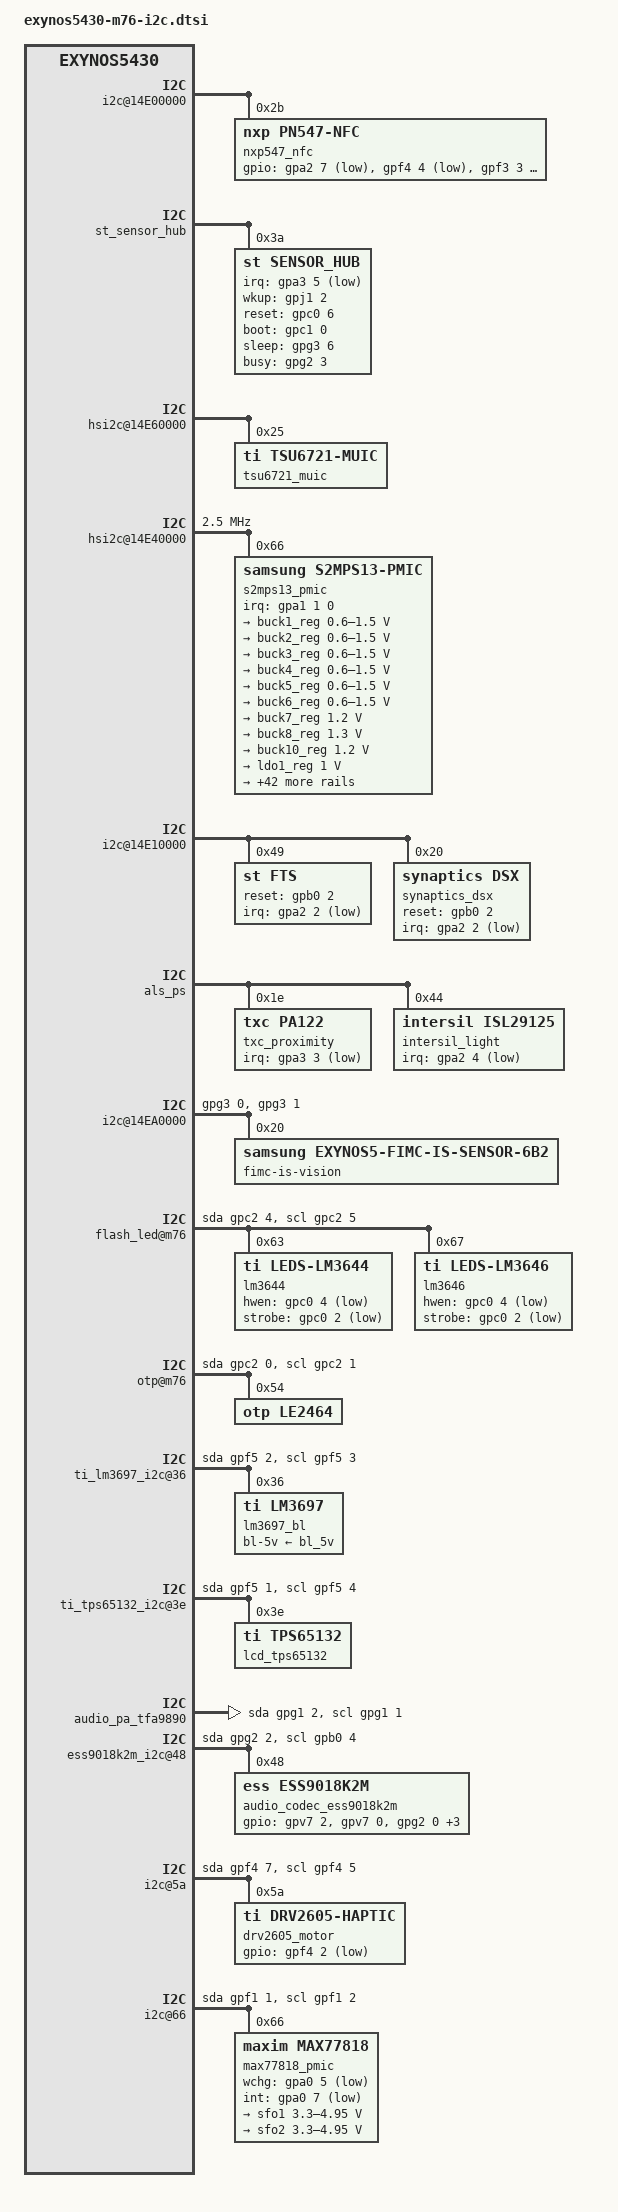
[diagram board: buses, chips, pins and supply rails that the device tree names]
/*
 * MEIZU M76 board I2C device tree source
 *
 * Copyright (c) 2014 Meizu Technology Co., Ltd.
 *		http://www.meizu.com
 *
 * This program is free software; you can redistribute it and/or modify
 * it under the terms of the GNU General Public License version 2 as
 * published by the Free Software Foundation.
*/

/ {
	aliases {
		i2c68 = &audio_pa_tfa9890;
		i2c67 = &als_ps;
		i2c66 = &st_sensor_hub;
	};

	i2c@14E00000 {
		status = "okay";
		#size-cells = <0>;
		samsung,i2c-sda-delay = <100>;
		samsung,i2c-max-bus-freq = <200000>;
		nxp547_nfc@2B {
			compatible = "nxp,pn547-nfc";
			reg = <0x2B>;
			gpios = <&gpa2 7 0xf  /* nfc-irq */
				 &gpf4 4 0x1  /* nfc-dl-req */
				 &gpf3 3 0x1  /* nfc-reset */
				>;

			pinctrl-names = "default";
			pinctrl-0 = <&nfc_dl_req &nfc_reset &nfc_spi_reset>;
		};
	};

	st_sensor_hub:i2c@14E30000 {
		status = "okay";
		samsung,i2c-sda-delay = <100>;
		samsung,i2c-max-bus-freq = <400000>;
		#size-cells = <0>;

		sensor_hub@3a {
			compatible = "st,sensor_hub";
			reg = <0x3A>;
			/*pinctrl-names = "sensor-hub-irq";*/
			/*pinctrl-0 = <&st_hub_irq &st_hub_reset>;*/
			/*pinctrl-0 = <&st_hub_reset>;*/
			mx-hub,pwr28-reg-name = "vdd28_sen";
			mx-hub,pwr18-reg-name = "vdd18_mcu";
			mx-hub,irq-gpio = <&gpa3 5 0x0F>;
			mx-hub,irq-flags = <0x2>;
			mx-hub,wkup-gpio = <&gpj1 2 0>;
			mx-hub,reset-gpio = <&gpc0 6 0>;
			mx-hub,boot-gpio = <&gpc1 0 0>;
			mx-hub,sleep-gpio = <&gpg3 6 0>;
			mx-hub,busy-gpio = <&gpg2 3 0>;
		};
	};

	hsi2c@14E60000 {/*muic tsu6721 is the slave of hsi2c2*/
		status = "okay";
		samsung,i2c-sda-delay = <100>;
		samsung,i2c-max-bus-freq = <200000>;

		tsu6721_muic@25{
			compatible = "ti,tsu6721-muic";
			reg = <0x25>;
			int-muic = <&gpa0 0 0xf>;
			iset-muic = <&gpa0 3 0xf>;
			pinctrl-names = "default";
			pinctrl-0 = <&muic_int>;
		};
	};

	hsi2c@14E40000 {
		status = "okay";
		samsung,hs-mode;
		clock-frequency = <2500000>;
		s2mps13_pmic@66 {
			compatible = "samsung,s2mps13-pmic";
			reg = <0x66>;
			interrupts = <1 0 0>; /*GPA1-1*/
			interrupt-parent = <&gpa1>;
			pinctrl-names = "default";
			pinctrl-0 = <&pmic_irq &pm_wrsti>;
			/* RTC: wtsr/smpl */
			wtsr_en = <1>; /* enable */
			smpl_en = <1>; /* enable */
			wtsr_timer_val = <3>;   /* 1000ms */
			smpl_timer_val = <4>;   /* 500ms */
			check_jigon = <0>; /* do not check jigon */
			/* RTC: If it's first boot, reset rtc to 1/1/2014 12:00:00(Wed) */
			init_time,sec = <0>;
			init_time,min = <0>;
			init_time,hour = <12>;
			init_time,mday = <1>;
			init_time,mon = <0>;
			init_time,year = <114>;
			init_time,wday = <3>;

			regulators {
				buck1_reg: BUCK1 {
					regulator-name = "vdd_mif";
					regulator-min-microvolt = <600000>;
					regulator-max-microvolt = <1500000>;
					regulator-always-on;
					regulator-boot-on;
					regulator-ramp-delay = <12000>;
					regulator-initial-mode = <1>;
				};

				buck2_reg: BUCK2 {
					regulator-name = "vdd_eagle";
					regulator-min-microvolt = <600000>;
					regulator-max-microvolt = <1500000>;
					regulator-always-on;
					regulator-boot-on;
					regulator-ramp-delay = <12000>;
					regulator-initial-mode = <1>;
				};

				buck3_reg: BUCK3 {
					regulator-name = "vdd_kfc";
					regulator-min-microvolt = <600000>;
					regulator-max-microvolt = <1500000>;
					regulator-always-on;
					regulator-boot-on;
					regulator-ramp-delay = <12000>;
					regulator-initial-mode = <1>;
				};

				buck4_reg: BUCK4 {
					regulator-name = "vdd_int";
					regulator-min-microvolt = <600000>;
					regulator-max-microvolt = <1500000>;
					regulator-always-on;
					regulator-boot-on;
					regulator-ramp-delay = <12000>;
					regulator-initial-mode = <1>;
				};

				buck5_reg: BUCK5 {
					regulator-name = "vdd_disp_cam0";
					regulator-min-microvolt = <600000>;
					regulator-max-microvolt = <1500000>;
					regulator-always-on;
					regulator-boot-on;
					regulator-ramp-delay = <12000>;
					regulator-initial-mode = <1>;
				};

				buck6_reg: BUCK6 {
					regulator-name = "vdd_g3d";
					regulator-min-microvolt = <600000>;
					regulator-max-microvolt = <1500000>;
					regulator-always-on;
					regulator-boot-on;
					regulator-ramp-delay = <12000>;
					regulator-initial-mode = <1>;
				};

				buck7_reg: BUCK7 {
					regulator-name = "vdd12_mem";
					regulator-min-microvolt = <1200000>;
					regulator-max-microvolt = <1200000>;
					regulator-always-on;
					regulator-boot-on;
					regulator-ramp-delay = <12000>;
					regulator-initial-mode = <3>;
				};
				/*
				buck7_sw_reg: BUCK7_SW {
					regulator-name = "vdd12_hsic";
					regulator-min-microvolt = <1200000>;
					regulator-max-microvolt = <1200000>;
					regulator-always-on;
					regulator-boot-on;
					regulator-initial-mode = <1>;
				};
				*/

				buck8_reg: BUCK8 {
					regulator-name = "DVDD13";
					regulator-min-microvolt = <1300000>;
					regulator-max-microvolt = <1300000>;
					regulator-always-on;
					regulator-boot-on;
					regulator-ramp-delay = <12000>;
					regulator-initial-mode = <3>;
				};
				/*
				BUCK9 DVDD20, 2.0V
				*/
				buck10_reg: BUCK10 {
					regulator-name = "vdd_mem2_nouse";
					regulator-min-microvolt = <1200000>;
					regulator-max-microvolt = <1200000>;
					regulator-initial-mode = <0>;
				};
				/*
				BB11 DVDD34, 3.4V
				*/

				ldo1_reg: LDO1 {
					regulator-name = "vdd10_alive";
					regulator-min-microvolt = <1000000>;
					regulator-max-microvolt = <1000000>;
					regulator-boot-on;
					regulator-always-on;
					regulator-ramp-delay = <12000>;
					regulator-initial-mode = <3>;
				};

				ldo2_reg: LDO2 {
					regulator-name = "vqmmc";
					regulator-min-microvolt = <2800000>;
					regulator-max-microvolt = <2800000>;
					regulator-boot-on;
					regulator-ramp-delay = <12000>;
					regulator-initial-mode = <1>;
				};

				ldo3_reg: LDO3 {
					regulator-name = "vdd18_apio";
					regulator-min-microvolt = <1800000>;
					regulator-max-microvolt = <1800000>;
					regulator-boot-on;
					regulator-always-on;
					regulator-initial-mode = <3>;
				};

				ldo4_reg: LDO4 {
					regulator-name = "vdd10_lli";
					regulator-min-microvolt = <1000000>;
					regulator-max-microvolt = <1000000>;
					regulator-boot-on;
					regulator-always-on;
					regulator-initial-mode = <1>;
				};

				ldo5_reg: LDO5 {
					regulator-name = "vdd10_dpll";
					regulator-min-microvolt = <1000000>;
					regulator-max-microvolt = <1000000>;
					regulator-always-on;
					regulator-initial-mode = <1>;
				};

				ldo6_reg: LDO6 {
					regulator-name = "vdd10_hsif";
					regulator-min-microvolt = <1000000>;
					regulator-max-microvolt = <1000000>;
					regulator-always-on;
					regulator-initial-mode = <1>;
				};

				ldo7_reg: LDO7 {
					regulator-name = "vdd18_hsif";
					regulator-min-microvolt = <1800000>;
					regulator-max-microvolt = <1800000>;
					regulator-always-on;
					regulator-initial-mode = <1>;
				};

				ldo8_reg: LDO8 {
					regulator-name = "vdd18_lli_pll";
					regulator-min-microvolt = <1800000>;
					regulator-max-microvolt = <1800000>;
					regulator-always-on;
					regulator-initial-mode = <1>;
				};

				ldo9_reg: LDO9 {
					regulator-name = "vdd18_abb_pll";
					regulator-min-microvolt = <1800000>;
					regulator-max-microvolt = <1800000>;
					regulator-always-on;
					regulator-initial-mode = <1>;
				};

				ldo10_reg: LDO10 {
					regulator-name = "vdd30_usb";
					regulator-min-microvolt = <3000000>;
					regulator-max-microvolt = <3000000>;
					regulator-always-on;
					regulator-initial-mode = <1>;
				};

				ldo11_reg: LDO11 {
					regulator-name = "vdd_int_m";
					regulator-min-microvolt = <800000>;
					regulator-max-microvolt = <1350000>;
					regulator-always-on;
					regulator-ramp-delay = <12000>;
					regulator-initial-mode = <1>;
				};

				ldo12_reg: LDO12 {
					regulator-name = "vdd_kfcm";
					regulator-min-microvolt = <1100000>;
					regulator-max-microvolt = <1100000>;
					regulator-always-on;
					regulator-initial-mode = <1>;
				};

				ldo13_reg: LDO13 {
					regulator-name = "vdd_g3dm";
					regulator-min-microvolt = <950000>;
					regulator-max-microvolt = <950000>;
					regulator-always-on;
					regulator-initial-mode = <1>;
				};

				ldo14_reg: LDO14 {
					regulator-name = "vddq_dram0";
					regulator-min-microvolt = <1200000>;
					regulator-max-microvolt = <1200000>;
					regulator-always-on;
					regulator-initial-mode = <1>;
				};

				ldo15_reg: LDO15 {
					regulator-name = "vddq_dram1";
					regulator-min-microvolt = <1200000>;
					regulator-max-microvolt = <1200000>;
					regulator-always-on;
					regulator-initial-mode = <1>;
				};

				ldo16_reg: LDO16 {
					regulator-name = "ldo16_no_use";
					regulator-min-microvolt = <2800000>;
					regulator-max-microvolt = <2800000>;
					regulator-ramp-delay = <12000>;
					regulator-initial-mode = <0>;
				};

				ldo17_reg: LDO17 {/*devboard v1/2/ touch*/
					regulator-name = "vdd28_no_use";
					regulator-min-microvolt = <2800000>;
					regulator-max-microvolt = <2800000>;
					regulator-initial-mode = <0>;
				};

				ldo18_reg: LDO18 {
					regulator-name = "vdd18_inandif";
					regulator-min-microvolt = <1800000>;
					regulator-max-microvolt = <1800000>;
					regulator-initial-mode = <0>;
				};

				ldo19_reg: LDO19 {
					regulator-name = "DVDD18";
					regulator-min-microvolt = <1800000>;
					regulator-max-microvolt = <1800000>;
					regulator-always-on;
					regulator-initial-mode = <3>;
				};

				ldo20_reg: LDO20 {
					regulator-name = "vdd28_sen";
					regulator-min-microvolt = <2800000>;
					regulator-max-microvolt = <2800000>;
					regulator-initial-mode = <3>;
				};

				ldo21_reg: LDO21 {
					regulator-name = "vdd18_fcam";
					regulator-min-microvolt = <1800000>;
					regulator-max-microvolt = <1800000>;
					regulator-initial-mode = <1>;
				};

				ldo22_reg: LDO22 {
					regulator-name = "vdd18_bcam";
					regulator-min-microvolt = <1800000>;
					regulator-max-microvolt = <1800000>;
					regulator-initial-mode = <1>;
				};

				ldo23_reg: LDO23 {
					regulator-name = "vdd12_fcam";
					regulator-min-microvolt = <1200000>;
					regulator-max-microvolt = <1200000>;
					regulator-initial-mode = <1>;
				};

				ldo24_reg: LDO24 {
					regulator-name = "vdd11_nr";
					regulator-min-microvolt = <1100000>;
					regulator-max-microvolt = <1100000>;
					regulator-ramp-delay = <12000>;
					regulator-initial-mode = <3>;
				};

				ldo25_reg: LDO25 {
					regulator-name = "vcc28_af";
					regulator-min-microvolt = <2800000>;
					regulator-max-microvolt = <2800000>;
					regulator-initial-mode = <1>;
				};

				ldo26_reg: LDO26 {
					regulator-name = "vcc28_bcam";
					regulator-min-microvolt = <2800000>;
					regulator-max-microvolt = <2800000>;
					regulator-initial-mode = <1>;
				};

				ldo27_reg: LDO27 {
					regulator-name = "vdd_ldo27_nouse";
					regulator-min-microvolt = <3000000>;
					regulator-max-microvolt = <3000000>;
					regulator-initial-mode = <0>;
				};

				ldo28_reg: LDO28 {
					regulator-name = "vdd18_dac";
					regulator-min-microvolt = <1800000>;
					regulator-max-microvolt = <1800000>;
					regulator-initial-mode = <1>;
				};

				ldo29_reg: LDO29 {
					regulator-name = "vdd_ldo29_nouse";
					regulator-min-microvolt = <3000000>;
					regulator-max-microvolt = <3000000>;
					regulator-initial-mode = <0>;
				};

				ldo30_reg: LDO30 {/*mobile touch*/
					regulator-name = "vdd28_touch";
					regulator-min-microvolt = <2800000>;
					regulator-max-microvolt = <2800000>;
					regulator-always-on;
					regulator-ramp-delay = <12000>;
					regulator-initial-mode = <3>;
				};

				ldo31_reg: LDO31 {
					regulator-name = "vdd18_mcu";
					regulator-min-microvolt = <1800000>;
					regulator-max-microvolt = <1800000>;
					regulator-always-on;
					regulator-initial-mode = <3>;
				};

				ldo32_reg: LDO32 {
					regulator-name = "vdd18_touch";
					regulator-min-microvolt = <1800000>;
					regulator-max-microvolt = <1800000>;
					regulator-always-on;
					regulator-initial-mode = <3>;
				};

				ldo33_reg: LDO33 {
					regulator-name = "vdd28_fp";
					regulator-min-microvolt = <2800000>;
					regulator-max-microvolt = <2800000>;
					regulator-initial-mode = <3>;
				};

				ldo34_reg: LDO34 {
					regulator-name = "codec_avdd18";
					regulator-min-microvolt = <1800000>;
					regulator-max-microvolt = <1800000>;
					regulator-always-on;
					regulator-initial-mode = <3>;
				};

				ldo35_reg: LDO35 {
					regulator-name = "vdd_ldo35_nouse";
					regulator-min-microvolt = <3000000>;
					regulator-max-microvolt = <3000000>;
					regulator-initial-mode = <0>;
				};

				ldo36_reg: LDO36 {/*samsung 1.2v?*/
					regulator-name = "vdd10_bcam";
					regulator-min-microvolt = <1000000>;
					regulator-max-microvolt = <1000000>;
					regulator-ramp-delay = <12000>;
					regulator-initial-mode = <1>;
				};

				ldo37_reg: LDO37 {
					regulator-name = "dvdd18_audio";
					regulator-min-microvolt = <1800000>;
					regulator-max-microvolt = <1800000>;
					regulator-always-on;
					regulator-initial-mode = <3>;
				};

				ldo38_reg: LDO38 {
					regulator-name = "vdd_ldo38_nouse";
					regulator-min-microvolt = <3000000>;
					regulator-max-microvolt = <3000000>;
					regulator-initial-mode = <0>;
				};

				ldo39_reg: LDO39 {
					regulator-name = "vdd18_lcd";
					regulator-min-microvolt = <1800000>;
					regulator-max-microvolt = <1800000>;
					regulator-initial-mode = <1>;
				};

				ldo40_reg: LDO40 {
					regulator-name = "vcc28_fcam";
					regulator-min-microvolt = <2800000>;
					regulator-max-microvolt = <2800000>;
					regulator-initial-mode = <1>;
				};

				bt32khz_reg: EN32KHzBT {
					regulator-name = "bt_32khz";
					regulator-always-on;
				};

				cp32khz_reg: EN32KHzCP {
					regulator-name = "cp_32khz";
					regulator-always-on;
				};

				ap32khz_reg: EN32KHzAP {
					regulator-name = "ap_32khz";
					regulator-always-on;
				};
			};
		};
	};

	i2c@14E10000 {
		status = "okay";
		samsung,i2c-sda-delay = <100>;
		samsung,i2c-max-bus-freq = <400000>;
		#size-cells = <0>;
		status = "okay";
		fts@49 {
			compatible = "st,fts";
			reg = <0x49>;
			/*    gpios = <&gpa2 2 0xF*/
			/*             &gpb0 2 0>;*/
			pinctrl-names = "touch_irq";
			pinctrl-0 = <&tp_irq>;
			synaptics,reset-gpio =<&gpb0 2 0>;
			synaptics,pwr-reg-name = "vdd28_touch";
			synaptics,bus-reg-name = "vdd18_touch";
			synaptics,irq-gpio = <&gpa2 2 0x0F>;
		};
		
		synaptics_dsx@20 {
                        compatible = "synaptics,dsx";
                        reg = <0x20>;
                        /*    gpios = <&gpa2 2 0xF*/
                        /*             &gpb0 2 0>;*/
                        pinctrl-names = "touch_irq";
                        pinctrl-0 = <&tp_irq>;
                        synaptics,reset-gpio =<&gpb0 2 0>; 
                        synaptics,pwr-reg-name = "vdd28_touch";
                        synaptics,bus-reg-name = "vdd18_touch";
                        synaptics,irq-gpio = <&gpa2 2 0x0F>;
                        synaptics,irq-flags = <0x2>;
                        synaptics,power-delay-ms = <60>;
                        synaptics,reset-delay-ms = <10>;
                        synaptics,cap-button-map = <102 129 158>;
                }; 
	};

	als_ps:i2c@14E80000 {
		status = "okay";
		samsung,i2c-sda-delay = <100>;
		samsung,i2c-max-bus-freq = <200000>;
		#size-cells = <0>;

		txc_proximity@1e {
			compatible = "txc,pa122";
			reg = <0x1e>;
			txc,irq-gpio = <&gpa3 3 0x0F>;
			pinctrl-names = "txc_ps";
			pinctrl-0 = <&ps_irq>;
			txc,power_reg = "vdd28_sen";
		};

		intersil_light@44 {
			compatible = "intersil,isl29125";
			reg = <0x44>;
			isl,irq-gpio = <&gpa2 4 0x0F>;
			pinctrl-names = "intersil_light";
			pinctrl-0 = <&light_irq>;
			isl,power_reg = "vdd28_sen";
		};
	};

	i2c@14EA0000 {
		gpios = <&gpg3 0 0 &gpg3 1 0 >;
		status = "okay";
		samsung,i2c-sda-delay = <100>;
		samsung,i2c-max-bus-freq = <400000>;
		status = "okay";
		fimc-is-vision@20 {
			compatible = "samsung,exynos5-fimc-is-sensor-6b2";
			reg = <0x20>;
		};
	};

#if 0
	i2c@14120000 {
		status = "okay";
		samsung,i2c-sda-delay = <100>;
		samsung,i2c-max-bus-freq = <400000>;
		lm3646@67 {
			compatible = "ti,leds-lm3646";
			hwen-gpio = <&gpc0 4 0x01>;
			strobe-gpio = <&gpc0 2 0x01>;
			reg = <0x67>;
		};
	};

	i2c@14120000 {
		status = "okay";
		samsung,i2c-sda-delay = <100>;
		samsung,i2c-max-bus-freq = <400000>;
		lm3644@63 {
			compatible = "ti,leds-lm3644";
			hwen-gpio = <&gpc0 4 0x01>;
			strobe-gpio = <&gpc0 2 0x01>;
			pinctrl-names = "torch-temp";
			pinctrl-0 = <&torch_temp>;
			reg = <0x63>;
		};
	};
#else
	flash_led@m76 {
		compatible = "i2c-gpio";
		gpios = <&gpc2 4 0 /* sda */
				&gpc2 5 0 /* scl */
				>;
		i2c-gpio,delay-us = <2>; /* 250KHz */
		#address-cells = <1>;
		#size-cells = <0>;
		status = "okay";

		lm3644@63 {
			compatible = "ti,leds-lm3644";
			hwen-gpio = <&gpc0 4 0x01>;
			strobe-gpio = <&gpc0 2 0x01>;
			pinctrl-names = "torch-temp";
			pinctrl-0 = <&torch_temp>;
			reg = <0x63>;
		};

		lm3646@67 {
			compatible = "ti,leds-lm3646";
			hwen-gpio = <&gpc0 4 0x01>;
			strobe-gpio = <&gpc0 2 0x01>;
			reg = <0x67>;
		};
	};
#endif

	otp@m76 {
		compatible = "i2c-gpio";
		gpios = <&gpc2 0 0 /* sda */
				&gpc2 1 0 /* scl */
				>;
		i2c-gpio,delay-us = <2>; /* 250KHz */
		#address-cells = <1>;
		#size-cells = <0>;
		status = "okay";

		le2464@54 {
			compatible = "otp,le2464";
			reg = <0x54>;
		};
	};

	ti_lm3697_i2c@36 {
		compatible = "i2c-gpio";
		gpios = <&gpf5 2 0 /* sda */
			 &gpf5 3 0 /* scl */
			>;
		i2c-gpio,delay-us = <2>;
		#address-cells = <1>;
		#size-cells = <0>;
		status = "okay";

		lm3697_bl@36 {
			compatible = "ti,lm3697";
			reg = <0x36>;
			bl-5v-supply = <&bl_5v>;

			enable-bank-a;

			/* LED TYPE:
			 *    BANK A: 0
			 *    BANK B: 1
			 */
			led1-type = <0>;
			led2-type = <0>;
			led3-type = <1>;

			enable-led1;
			enable-led2;

			/* BOOST FREQ:
			 *    500KHZ: 0
			 *    1MHZ: 1
			 */
			boost-freq = <0>;

			/* OVP:
			 *    16V: 0
			 *    24V: 1
			 *    32V: 2
			 *    40V: 3
			 */
			ovp = <2>;

			/* PWM CTRL:
			 *    DISABLE: 0
			 *    CTRL BANK A: 1
			 *    CTRL BANK B: 2
			 *    CTRL BANK A&B: 3
			 */
			pwm-ctrl = <0>;

			max-brightness = <2047>;
			def-brightness = <1200>;
		};
	};

	ti_tps65132_i2c@3e {
		compatible = "i2c-gpio";
		gpios = <&gpf5 1 0 /* sda */
			 &gpf5 4 0 /* scl */
			>;
		i2c-gpio,delay-us = <2>;
		#address-cells = <1>;
		#size-cells = <0>;
		status = "okay";

		lcd_tps65132@3e {
			compatible = "ti,tps65132";
			reg = <0x3e>;

			vpos = <0xF>;
			vneg = <0xF>;
			enable-vpos;
			enable-vneg;
		};
	};

	audio_pa_tfa9890: tfa9890_i2c@34 {
		compatible = "i2c-gpio";
		gpios = <&gpg1 2 0 /* sda */
			&gpg1 1 0 /* scl */>;
		i2c-gpio,delay-us = <2>;
		#address-cells = <1>;
		#size-cells = <0>;
		status = "okay";
	};

	ess9018k2m_i2c@48 {
		compatible = "i2c-gpio";
		gpios = <&gpg2 2 0 /* sda */
			&gpb0 4 0 /* scl */>;
		i2c-gpio,delay-us = <2>;        /* ~100khz */
		#address-cells = <1>;
		#size-cells = <0>;
		status = "okay";

		audio_codec_ess9018k2m: audio-codec-ess9018k2m@48 {
			compatible = "ess,ess9018k2m";
			reg = <0x48>;
			gpios = <&gpv7 2 0 /*48khz_osc*/
				&gpv7 0 0 /* 44100hz_osc */
				&gpg2 0 0/*resetb*/
				&gpg2 1 0/*mute*/
				&gpv7 3 0 /*voltage_ENA*/
				&gpg3 1 0/* op_en*/>;
			pinctrl-names = "default";
		};
	};

   	/*motor begin*/
	i2c@5a {
		compatible = "i2c-gpio";
		gpios = <&gpf4 7 0 /* sda */
			 &gpf4 5 0 /* scl */
			>;
		i2c-gpio,delay-us = <2>;
		#address-cells = <1>;
		#size-cells = <0>;
		status = "okay";

		drv2605_motor@5a {
			compatible = "ti,drv2605-haptic";
			reg = <0x5a>;
			gpios = <&gpf4 2 1>;/*motor enable pin*/
			motor_calib_version=<3>;
		};
	};
	/*motor end*/
	/*pmic1 begin*/
	i2c@66 {
		compatible = "i2c-gpio";
		gpios = <&gpf1 1 0 /* sda */
			 &gpf1 2 0 /* scl */
			>;
		i2c-gpio,delay-us = <2>;
		#address-cells = <1>;
		#size-cells = <0>;
		status = "okay";

		max77818_pmic@66 {
			compatible = "maxim,max77818";
			reg = <0x66>;
			wchg-gpio = <&gpa0 5 0xf>; /*wireless charger valid int*/
			max77818,int-gpio = <&gpa0 7 0xf>; /*charger pmic1 valid int*/
			maxim,rsns-microohm = <10000>; /*resistor*/
			pinctrl-names = "default";
			pinctrl-0 = <&charger_int>;
			charger{
				compatible = "maxim,max77818-charger";
				fast_charge_timer = <12>;
				fast_charge_current = <1625>;
				fast_charge_current_low=<975>;
				usb_charge_current=<500>;
				usb_fast_charge_current=<900>;
				topoff_current = <100>;
				charge_termination_voltage = <4350>;
				input_current_limit = <1700>;
				otg_current_limit=<1500>;
				topoff_timer= <0>;
				restart_threshold = <150>;
				spread-spectrum = <1>;
			};
			regulators {
				SAFEOUT1 {
					regulator-name = "sfo1";
					regulator-min-microvolt = <3300000>;
					regulator-max-microvolt = <4950000>;
					active-discharge;
					regulator-always-on;
				};
				SAFEOUT2 {
					regulator-name = "sfo2";
					regulator-min-microvolt = <3300000>;
					regulator-max-microvolt = <4950000>;
					/*active-discharge = true;*/
				};
			};
			max77818-fuelgauge {
				compatible = "maxim,max77818-fuelgauge";
				fuelgauge,fuel_alert_soc = <2>;
				bat_mod_version=<13>;
			};

		};
	};
	/*pmic1 end*/
};
